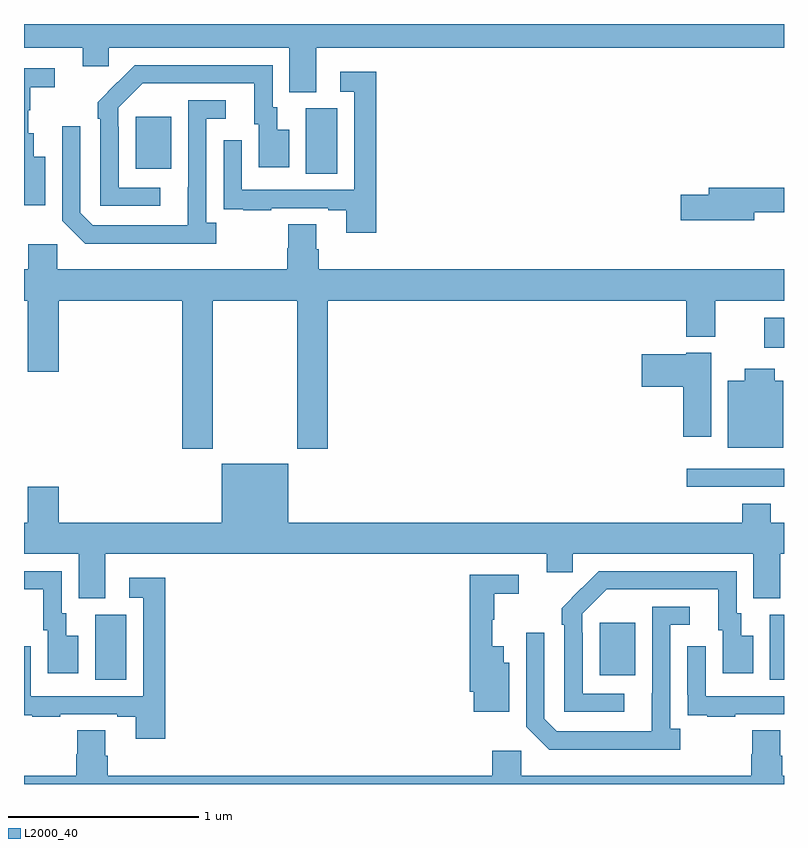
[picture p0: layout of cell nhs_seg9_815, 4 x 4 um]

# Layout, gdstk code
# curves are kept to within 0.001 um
import gdstk
lib = gdstk.Library(unit=1e-6, precision=1e-09)
def R(c, l, rs):  # rectangles x0, y0, x1, y1
    for r in rs: c.add(gdstk.rectangle(r[:2], r[2:], *l))
def P(c, l, *ps):  # polygons
    for p in ps: c.add(gdstk.Polygon(p, *l))
L2000_40 = (2000, 40)

nhs_seg9_815 = lib.new_cell('nhs_seg9_815')
R(nhs_seg9_815, L2000_40, [(153.374,1237.048,153.538,1237.392), (156.926,1237.048,157,1237.392), (156.029,1237.073,156.217,1237.348), (156.489,1238.064,157,1238.16), (156.897,1238.795,157,1238.953), (154.484,1239.712,154.648,1240.056), (153.587,1239.737,153.775,1240.012)])
P(nhs_seg9_815, L2000_40, [(154.537,1240.376),(157,1240.376),(157,1240.5),(153,1240.5),(153,1240.376),(153.308,1240.376),(153.308,1240.278),(153.447,1240.278),(153.447,1240.376),(154.397,1240.376),(154.397,1240.141),(154.537,1240.141)],
  [(153.718,1239.639),(153.498,1239.639),(153.498,1239.959),(153.495,1239.959),(153.495,1240.059),(153.624,1240.188),(154.211,1240.188),(154.211,1239.972),(154.235,1239.972),(154.235,1239.747),(154.396,1239.747),(154.396,1239.943),(154.333,1239.943),(154.333,1240.062),(154.308,1240.062),(154.308,1240.284),(153.584,1240.284),(153.387,1240.089),(153.387,1240.001),(153.402,1240.001),(153.402,1239.543),(153.718,1239.543)],
  [(153.112,1239.802),(153.052,1239.802),(153.052,1239.925),(153.023,1239.925),(153.023,1240.047),(153.034,1240.047),(153.034,1240.168),(153.163,1240.168),(153.163,1240.266),(153,1240.266),(153,1239.545),(153.112,1239.545)],
  [(154.853,1240.249),(154.665,1240.249),(154.665,1240.143),(154.737,1240.143),(154.737,1239.627),(154.146,1239.627),(154.146,1239.889),(154.05,1239.889),(154.05,1239.634),(154.051,1239.634),(154.051,1239.525),(154.153,1239.525),(154.153,1239.519),(154.301,1239.519),(154.301,1239.531),(154.601,1239.531),(154.601,1239.519),(154.697,1239.519),(154.697,1239.402),(154.853,1239.402)],
  [(154.012,1239.454),(153.96,1239.454),(153.96,1240.002),(154.063,1240.002),(154.063,1240.098),(153.864,1240.098),(153.863,1239.441),(153.363,1239.441),(153.297,1239.507),(153.297,1239.961),(153.201,1239.961),(153.201,1239.465),(153.322,1239.344),(154.012,1239.344)],
  [(156.844,1239.51),(157,1239.51),(157,1239.638),(156.605,1239.638),(156.605,1239.602),(156.456,1239.602),(156.456,1239.467),(156.844,1239.467)],
  [(153.993,1239.044),(154.438,1239.044),(154.438,1238.265),(154.598,1238.265),(154.598,1239.044),(156.485,1239.044),(156.485,1238.855),(156.637,1238.855),(156.637,1239.044),(157,1239.044),(157,1239.208),(154.55,1239.208),(154.55,1239.314),(154.537,1239.314),(154.537,1239.446),(154.39,1239.446),(154.39,1239.321),(154.385,1239.321),(154.385,1239.208),(153.174,1239.208),(153.174,1239.34),(153.023,1239.34),(153.023,1239.208),(153,1239.208),(153,1239.044),(153.02,1239.044),(153.02,1238.67),(153.184,1238.67),(153.184,1239.044),(153.833,1239.044),(153.833,1238.265),(153.993,1238.265)],
  [(156.616,1238.77),(156.486,1238.77),(156.486,1238.761),(156.252,1238.761),(156.252,1238.591),(156.47,1238.591),(156.47,1238.328),(156.616,1238.328)],
  [(156.997,1238.623),(156.952,1238.623),(156.952,1238.686),(156.794,1238.686),(156.794,1238.623),(156.704,1238.623),(156.704,1238.27),(156.997,1238.27)],
  [(153.427,1237.712),(155.75,1237.712),(155.75,1237.614),(155.889,1237.614),(155.889,1237.712),(156.839,1237.712),(156.839,1237.477),(156.979,1237.477),(156.979,1237.712),(157,1237.712),(157,1237.876),(156.931,1237.876),(156.931,1237.975),(156.779,1237.975),(156.779,1237.876),(154.39,1237.876),(154.39,1238.185),(154.04,1238.185),(154.04,1237.876),(153.184,1237.876),(153.184,1238.065),(153.02,1238.065),(153.02,1237.876),(153,1237.876),(153,1237.712),(153.287,1237.712),(153.287,1237.477),(153.427,1237.477)],
  [(156.16,1236.975),(155.94,1236.975),(155.94,1237.295),(155.937,1237.295),(155.937,1237.395),(156.066,1237.524),(156.653,1237.524),(156.653,1237.308),(156.677,1237.308),(156.677,1237.083),(156.838,1237.083),(156.838,1237.279),(156.775,1237.279),(156.775,1237.398),(156.75,1237.398),(156.75,1237.62),(156.026,1237.62),(155.829,1237.425),(155.829,1237.337),(155.844,1237.337),(155.844,1236.879),(156.16,1236.879)],
  [(153.286,1237.279),(153.223,1237.279),(153.223,1237.398),(153.198,1237.398),(153.198,1237.62),(153,1237.62),(153,1237.524),(153.101,1237.524),(153.101,1237.308),(153.125,1237.308),(153.125,1237.083),(153.286,1237.083)],
  [(155.554,1237.138),(155.524,1237.138),(155.524,1237.225),(155.465,1237.225),(155.465,1237.365),(155.476,1237.365),(155.476,1237.501),(155.605,1237.501),(155.605,1237.602),(155.347,1237.602),(155.347,1236.985),(155.366,1236.985),(155.366,1236.881),(155.554,1236.881)],
  [(153.743,1237.585),(153.555,1237.585),(153.555,1237.479),(153.627,1237.479),(153.627,1236.963),(153.036,1236.963),(153.036,1237.225),(153,1237.225),(153,1236.861),(153.043,1236.861),(153.043,1236.855),(153.191,1236.855),(153.191,1236.867),(153.491,1236.867),(153.491,1236.855),(153.587,1236.855),(153.587,1236.738),(153.743,1236.738)],
  [(156.454,1236.79),(156.402,1236.79),(156.402,1237.338),(156.505,1237.338),(156.505,1237.434),(156.306,1237.434),(156.305,1236.777),(155.805,1236.777),(155.739,1236.843),(155.739,1237.297),(155.643,1237.297),(155.643,1236.801),(155.764,1236.68),(156.454,1236.68)],
  [(156.743,1236.867),(157,1236.867),(157,1236.963),(156.588,1236.963),(156.588,1237.225),(156.492,1237.225),(156.492,1236.97),(156.493,1236.97),(156.493,1236.861),(156.595,1236.861),(156.595,1236.855),(156.743,1236.855)],
  [(157,1236.544),(156.992,1236.544),(156.992,1236.65),(156.979,1236.65),(156.979,1236.782),(156.832,1236.782),(156.832,1236.657),(156.827,1236.657),(156.827,1236.544),(155.616,1236.544),(155.616,1236.676),(155.465,1236.676),(155.465,1236.544),(153.44,1236.544),(153.44,1236.65),(153.427,1236.65),(153.427,1236.782),(153.28,1236.782),(153.28,1236.657),(153.275,1236.657),(153.275,1236.544),(153,1236.544),(153,1236.5),(157,1236.5)])

lib.write_gds('nhs_seg9_815.gds')
